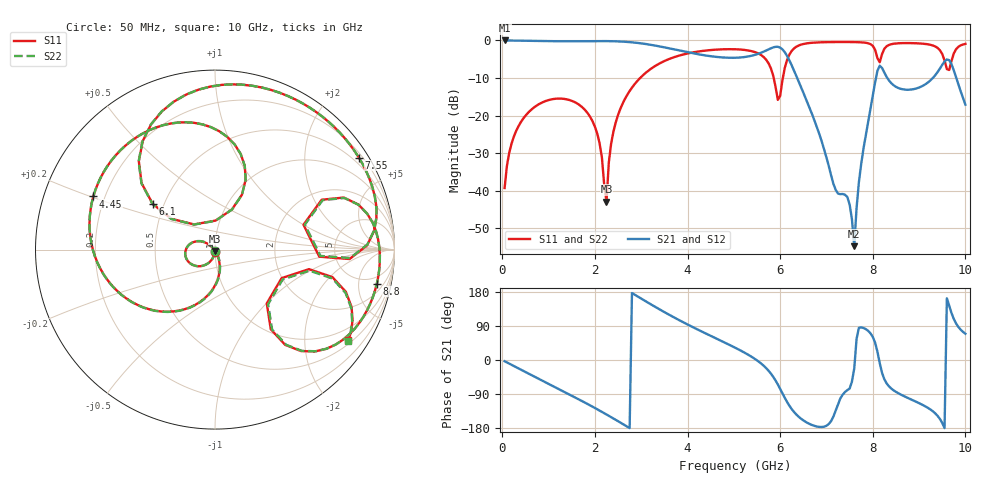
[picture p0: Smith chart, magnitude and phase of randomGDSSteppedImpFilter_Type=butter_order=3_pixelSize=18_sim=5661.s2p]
! freq	dB(S11)	phase(S11)	dB(S12)	phase(S12)
!  dB(S21)	phase(S21)	dB(S22)	phase(S22)
!S-par simulation data
#  GHz  S  DB  R 50
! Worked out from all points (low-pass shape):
!   200 points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, 50 MHz to 10 GHz, reference 50 ohm
!   highest |S21| = -0.01 dB at 50 MHz (marker M1); lowest = -54.8 dB at 7.6 GHz (marker M2)
!   |S21| within 3 dB of the highest: start of sweep to 3.95 GHz; 5.64 GHz to 6.091 GHz (451 MHz wide, 7.69 % of centre)
!   lowest |S11| = -42.9 dB at 2.25 GHz (marker M3), VSWR 1.01, Z = 49.9 - j0.702 ohm
!   |S11| at or under -10 dB: start of sweep to 2.977 GHz; 5.861 GHz to 6.058 GHz (197.3 MHz wide, 3.31 % of centre)
!   |S22| runs from -44.0 to -0.4 dB; largest |S21 - S12| = 0
!   S11 on the Smith chart (normalised r, x): 50 MHz: 1.00, -0.02; 4.45 GHz: 0.16, +0.20; 6.1 GHz: 0.43, +0.27; 7.55 GHz: 0.31, +3.40; 8.8 GHz: 3.31, -8.31; 10 GHz: 0.60, -3.15
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0.05  -39.29 -92.2  -0.01 -3.2  -0.01 -3.2  -39.55 -91.5
0.55  -19.35 -125.2  -0.10 -34.8  -0.10 -34.8  -19.35 -125.2
1.75  -18.06 160.1  -0.20 -110.2  -0.20 -110.2  -18.06 159.7
2.1  -27.31 140.3  -0.17 -133.4  -0.17 -133.4  -27.34 138.5
2.25  -42.89 -100.9  -0.18 -143.8  -0.18 -143.8  -44.01 -89.7
2.35  -27.52 -67.3  -0.20 -150.8  -0.20 -150.8  -27.54 -65.1
2.5  -19.84 -74.9  -0.26 -161.5  -0.26 -161.5  -19.84 -73.9
3.4  -6.10 -137.9  -1.60 133.3  -1.60 133.3  -6.10 -137.7
4.45  -2.62 156.4  -4.12 66.7  -4.12 66.7  -2.62 156.5
5.05  -2.36 121.7  -4.61 31.1  -4.61 31.1  -2.36 121.8
5.75  -6.11 70.4  -2.38 -28.4  -2.38 -28.4  -6.11 70.4
5.95  -15.83 89.0  -1.70 -64.6  -1.70 -64.6  -15.88 88.9
6.1  -7.31 143.7  -3.14 -99.8  -3.14 -99.8  -7.32 143.9
6.7  -0.62 80.4  -19.97 -172.1  -19.97 -172.1  -0.62 80.5
7.55  -0.43 32.6  -47.60 -57.1  -47.60 -57.1  -0.43 32.7
7.6  -0.44 29.9  -54.78 -22.4  -54.78 -22.4  -0.44 30.1
7.75  -0.51 21.4  -32.89 86.2  -32.89 86.2  -0.50 21.6
8.1  -4.69 -3.9  -8.10 22.3  -8.10 22.3  -4.60 -3.4
8.35  -1.20 13.3  -10.65 -69.5  -10.65 -69.5  -1.19 13.2
8.8  -0.71 -11.9  -13.11 -102.5  -13.11 -102.5  -0.71 -11.8
9.6  -7.62 -46.1  -5.06 162.9  -5.06 162.9  -7.44 -45.8
10  -0.92 -34.2  -17.11 69.3  -17.11 69.3  -0.93 -34.4
